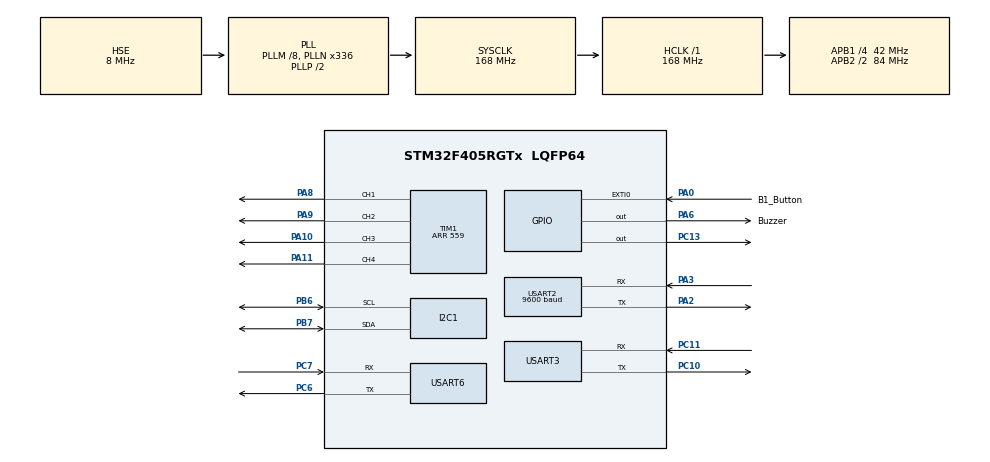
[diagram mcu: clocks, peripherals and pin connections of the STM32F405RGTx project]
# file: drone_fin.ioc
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Dma.Request0=TIM1_CH1
Dma.Request1=TIM1_CH2
Dma.Request2=TIM1_CH3
Dma.Request3=TIM1_CH4/TRIG/COM
Dma.TIM1_CH1.0.Direction=DMA_MEMORY_TO_PERIPH
Dma.TIM1_CH1.0.FIFOMode=DMA_FIFOMODE_DISABLE
Dma.TIM1_CH1.0.Instance=DMA2_Stream1
Dma.TIM1_CH1.0.MemDataAlignment=DMA_MDATAALIGN_WORD
Dma.TIM1_CH1.0.MemInc=DMA_MINC_ENABLE
Dma.TIM1_CH1.0.Mode=DMA_NORMAL
Dma.TIM1_CH1.0.PeriphDataAlignment=DMA_PDATAALIGN_WORD
Dma.TIM1_CH1.0.PeriphInc=DMA_PINC_DISABLE
Dma.TIM1_CH1.0.Priority=DMA_PRIORITY_LOW
Dma.TIM1_CH2.1.Direction=DMA_MEMORY_TO_PERIPH
Dma.TIM1_CH2.1.FIFOMode=DMA_FIFOMODE_DISABLE
Dma.TIM1_CH2.1.Instance=DMA2_Stream2
Dma.TIM1_CH2.1.MemDataAlignment=DMA_MDATAALIGN_WORD
Dma.TIM1_CH2.1.MemInc=DMA_MINC_ENABLE
Dma.TIM1_CH2.1.Mode=DMA_NORMAL
Dma.TIM1_CH2.1.PeriphDataAlignment=DMA_PDATAALIGN_WORD
Dma.TIM1_CH2.1.PeriphInc=DMA_PINC_DISABLE
Dma.TIM1_CH2.1.Priority=DMA_PRIORITY_LOW
Dma.TIM1_CH3.2.Direction=DMA_MEMORY_TO_PERIPH
Dma.TIM1_CH3.2.FIFOMode=DMA_FIFOMODE_DISABLE
Dma.TIM1_CH3.2.Instance=DMA2_Stream6
Dma.TIM1_CH3.2.MemDataAlignment=DMA_MDATAALIGN_WORD
Dma.TIM1_CH3.2.MemInc=DMA_MINC_ENABLE
Dma.TIM1_CH3.2.Mode=DMA_NORMAL
Dma.TIM1_CH3.2.PeriphDataAlignment=DMA_PDATAALIGN_WORD
Dma.TIM1_CH3.2.PeriphInc=DMA_PINC_DISABLE
Dma.TIM1_CH3.2.Priority=DMA_PRIORITY_LOW
Dma.TIM1_CH4/TRIG/COM.3.Direction=DMA_MEMORY_TO_PERIPH
Dma.TIM1_CH4/TRIG/COM.3.FIFOMode=DMA_FIFOMODE_DISABLE
Dma.TIM1_CH4/TRIG/COM.3.Instance=DMA2_Stream4
Dma.TIM1_CH4/TRIG/COM.3.MemDataAlignment=DMA_MDATAALIGN_WORD
Dma.TIM1_CH4/TRIG/COM.3.MemInc=DMA_MINC_ENABLE
Dma.TIM1_CH4/TRIG/COM.3.Mode=DMA_NORMAL
Dma.TIM1_CH4/TRIG/COM.3.PeriphDataAlignment=DMA_PDATAALIGN_WORD
Dma.TIM1_CH4/TRIG/COM.3.PeriphInc=DMA_PINC_DISABLE
Dma.TIM1_CH4/TRIG/COM.3.Priority=DMA_PRIORITY_LOW
FREERTOS.Tasks01=defaultTask,24,128,StartDefaultTask,Default,NULL,Dynamic,NULL,NULL
FREERTOS.configCHECK_FOR_STACK_OVERFLOW=0
FREERTOS.configTOTAL_HEAP_SIZE=32768
FREERTOS.configUSE_MALLOC_FAILED_HOOK=0
FREERTOS.configUSE_NEWLIB_REENTRANT=0
I2C1.I2C_Mode=I2C_Fast
IWDG.Prescaler=IWDG_PRESCALER_64
IWDG.Reload=2000
Mcu.Family=STM32F4
Mcu.Name=STM32F405RGTx
Mcu.Package=LQFP64
NVIC.DMA2_Stream1_IRQn=true\:5\:0\:false\:false\:true\:true\:false\:true\:true
NVIC.DMA2_Stream2_IRQn=true\:5\:0\:false\:false\:true\:true\:false\:true\:true
NVIC.DMA2_Stream4_IRQn=true\:5\:0\:false\:false\:true\:true\:false\:true\:true
NVIC.DMA2_Stream6_IRQn=true\:5\:0\:false\:false\:true\:true\:false\:true\:true
NVIC.EXTI0_IRQn=true\:5\:0\:false\:false\:true\:true\:true\:true\:true
NVIC.PriorityGroup=NVIC_PRIORITYGROUP_4
NVIC.USART2_IRQn=true\:5\:0\:false\:false\:true\:true\:true\:true\:true
NVIC.USART3_IRQn=true\:5\:0\:false\:false\:true\:true\:true\:true\:true
PA0-WKUP.GPIO_Label=B1_Button
PA0-WKUP.GPIO_ModeDefaultEXTI=GPIO_MODE_IT_FALLING
PA0-WKUP.Signal=GPXTI0
PA10.Signal=S_TIM1_CH3
PA11.Signal=S_TIM1_CH4
PA13.Mode=Serial_Wire
PA13.Signal=SYS_JTMS-SWDIO
PA14.Mode=Serial_Wire
PA14.Signal=SYS_JTCK-SWCLK
PA2.Mode=Asynchronous
PA2.Signal=USART2_TX
PA3.GPIO_PuPd=GPIO_PULLUP
PA3.Mode=Asynchronous
PA3.Signal=USART2_RX
PA6.GPIO_Label=Buzzer
PA6.Signal=GPIO_Output
PA8.Signal=S_TIM1_CH1
PA9.Signal=S_TIM1_CH2
PB6.Mode=I2C
PB6.Signal=I2C1_SCL
PB7.Mode=I2C
PB7.Signal=I2C1_SDA
PC10.Mode=Asynchronous
PC10.Signal=USART3_TX
PC11.GPIO_PuPd=GPIO_PULLUP
PC11.Mode=Asynchronous
PC11.Signal=USART3_RX
PC13-ANTI_TAMP.Signal=GPIO_Output
PC6.Mode=Asynchronous
PC6.Signal=USART6_TX
PC7.Mode=Asynchronous
PC7.Signal=USART6_RX
PH0-OSC_IN.Mode=HSE-External-Oscillator
PH0-OSC_IN.Signal=RCC_OSC_IN
PH1-OSC_OUT.Mode=HSE-External-Oscillator
PH1-OSC_OUT.Signal=RCC_OSC_OUT
ProjectManager.HeapSize=0x200
ProjectManager.StackSize=0x400
ProjectManager.TargetToolchain=STM32CubeIDE
RCC.48MHZClocksFreq_Value=84000000
RCC.AHBFreq_Value=168000000
RCC.APB1CLKDivider=RCC_HCLK_DIV4
RCC.APB1Freq_Value=42000000
RCC.APB1TimFreq_Value=84000000
RCC.APB2CLKDivider=RCC_HCLK_DIV2
RCC.APB2Freq_Value=84000000
RCC.APB2TimFreq_Value=168000000
RCC.CortexFreq_Value=168000000
RCC.HCLKFreq_Value=168000000
RCC.HSE_VALUE=8000000
RCC.HSI_VALUE=16000000
RCC.LSE_VALUE=32768
RCC.PLLM=8
RCC.PLLN=336
RCC.PLLSourceVirtual=RCC_PLLSOURCE_HSE
RCC.SYSCLKFreq_VALUE=168000000
RCC.SYSCLKSource=RCC_SYSCLKSOURCE_PLLCLK
RCC.VCOOutputFreq_Value=336000000
SH.S_TIM1_CH1.0=TIM1_CH1,PWM Generation1 CH1
SH.S_TIM1_CH2.0=TIM1_CH2,PWM Generation2 CH2
SH.S_TIM1_CH3.0=TIM1_CH3,PWM Generation3 CH3
SH.S_TIM1_CH4.0=TIM1_CH4,PWM Generation4 CH4
TIM1.Channel-PWM\ Generation1\ CH1=TIM_CHANNEL_1
TIM1.Channel-PWM\ Generation2\ CH2=TIM_CHANNEL_2
TIM1.Channel-PWM\ Generation3\ CH3=TIM_CHANNEL_3
TIM1.Channel-PWM\ Generation4\ CH4=TIM_CHANNEL_4
TIM1.Period=559
USART2.BaudRate=9600
USART2.VirtualMode=VM_ASYNC
USART3.VirtualMode=VM_ASYNC
USART6.VirtualMode=VM_ASYNC
VP_FREERTOS_VS_CMSIS_V2.Mode=CMSIS_V2
VP_IWDG_VS_IWDG.Mode=IWDG_Activate
board=custom

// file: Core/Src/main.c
/* USER CODE BEGIN Header */
/**
  ******************************************************************************
  * @file           : main.c
  * @brief          : Main program body
  ******************************************************************************
  * @attention
  *
  * Copyright (c) 2026 STMicroelectronics.
  * All rights reserved.
  *
  * This software is licensed under terms that can be found in the LICENSE file
  * in the root directory of this software component.
  * If no LICENSE file comes with this software, it is provided AS-IS.
  *
  ******************************************************************************
  */
/* USER CODE END Header */
#include "main.h"
#include "cmsis_os.h"
#include "dma.h"
#include "i2c.h"
#include "iwdg.h"
#include "tim.h"
#include "usart.h"
#include "gpio.h"

/* USER CODE BEGIN Includes */
#include <stdio.h>
#include "i2c.h"
#include "ssd1306.h"
#include "ssd1306_fonts.h"
#include "iwdg.h"
#include <stdio.h>
#include <math.h>
#include "app_types.h"
#include "app_globals.h"
#include "task_sensor.h"
#include "task_filter.h"
#include "task_display.h"
#include "task_log.h"
#include "task_watchdog.h"
#include "task_control.h"
#include "task_gps.h"
#include "task_baro.h"
#include "task_rc.h"
#include "task_telemetry.h"
/* USER CODE END Includes */

void SystemClock_Config(void);
void MX_FREERTOS_Init(void);
/* USER CODE BEGIN PFP */
void  task_sensor(void *argument);
//void task_print(void *argument);
void task_display(void *argument);
void task_log(void *argument);
void task_watchdog(void *argument);
void task_filter(void *argument);
void task_baro(void *argument);
void task_gps(void *argument);
void task_control(void *argument);
void task_rc(void *argument);
void task_telemetry(void *argument);
//void task_blink_fast(void *argument);
//void task_blink_slow(void *argument);
/* USER CODE END PFP */

/* USER CODE BEGIN 0 */
volatile uint32_t putchar_calls = 0;       // how many chars printf tried to send
volatile uint32_t putchar_fail  = 0;       // how many HAL_UART_Transmit rejected
volatile uint32_t putchar_last  = 0;       // last failing status: 1=ERROR 2=BUSY 3=TIMEOUT

int __io_putchar(int ch)
{
    putchar_calls++;
    HAL_StatusTypeDef st = HAL_UART_Transmit(&huart3, (uint8_t *)&ch, 1, 10);
    if (st != HAL_OK)
    {
        putchar_fail++;
        putchar_last = st;
    }
    return ch;
}
/* USER CODE END 0 */

int main(void)
{

  /* USER CODE BEGIN 1 */
	uint32_t reset_csr = RCC->CSR;     // why did we reset last time?
	__HAL_RCC_CLEAR_RESET_FLAGS();     // clear so next boot reports fresh
  /* USER CODE END 1 */

  /* MCU Configuration--------------------------------------------------------*/

  /* Reset of all peripherals, Initializes the Flash interface and the Systick. */
  HAL_Init();

  /* Configure the system clock */
  SystemClock_Config();

  /* Initialize all configured peripherals */
  MX_GPIO_Init();
  MX_DMA_Init();
  MX_I2C1_Init();
  MX_TIM1_Init();
  MX_USART6_UART_Init();
  MX_IWDG_Init();
  MX_USART2_UART_Init();
  MX_USART3_UART_Init();
  /* USER CODE BEGIN 2 */
  __HAL_DBGMCU_FREEZE_IWDG();
  CoreDebug->DEMCR |= CoreDebug_DEMCR_TRCENA_Msk;   // enable the trace/debug block
  DWT->CYCCNT = 0;
  DWT->CTRL  |= DWT_CTRL_CYCCNTENA_Msk;              // start counting CPU cycles
  printf("Booting...\r\n");
  printf("[BOOT] cause:%s%s%s%s%s%s\r\n",
         (reset_csr & RCC_CSR_IWDGRSTF) ? " IWDG" : "",
         (reset_csr & RCC_CSR_WWDGRSTF) ? " WWDG" : "",
         (reset_csr & RCC_CSR_BORRSTF)  ? " BROWNOUT" : "",
         (reset_csr & RCC_CSR_PORRSTF)  ? " POWER-ON" : "",
         (reset_csr & RCC_CSR_SFTRSTF)  ? " SOFTWARE" : "",
         (reset_csr & RCC_CSR_PINRSTF)  ? " PIN" : "");
  HAL_TIM_PWM_Start(&htim1, TIM_CHANNEL_1);
  HAL_TIM_PWM_Start(&htim1, TIM_CHANNEL_2);
  HAL_TIM_PWM_Start(&htim1, TIM_CHANNEL_3);
  HAL_TIM_PWM_Start(&htim1, TIM_CHANNEL_4);
  /* USER CODE END 2 */

  /* Init scheduler */
  osKernelInitialize();  /* Call init function for freertos objects (in cmsis_os2.c) */
  MX_FREERTOS_Init();

  /* Start scheduler */
  osKernelStart();

  /* We should never get here as control is now taken by the scheduler */

  /* Infinite loop */
  while (1)
  {

  }
}

void SystemClock_Config(void)
{
  RCC_OscInitTypeDef RCC_OscInitStruct = {0};
  RCC_ClkInitTypeDef RCC_ClkInitStruct = {0};

  /** Configure the main internal regulator output voltage
  */
  __HAL_RCC_PWR_CLK_ENABLE();
  __HAL_PWR_VOLTAGESCALING_CONFIG(PWR_REGULATOR_VOLTAGE_SCALE1);

  /** Initializes the RCC Oscillators according to the specified parameters
  * in the RCC_OscInitTypeDef structure.
  */
  RCC_OscInitStruct.OscillatorType = RCC_OSCILLATORTYPE_LSI|RCC_OSCILLATORTYPE_HSE;
  RCC_OscInitStruct.HSEState = RCC_HSE_ON;
  RCC_OscInitStruct.LSIState = RCC_LSI_ON;
  RCC_OscInitStruct.PLL.PLLState = RCC_PLL_ON;
  RCC_OscInitStruct.PLL.PLLSource = RCC_PLLSOURCE_HSE;
  RCC_OscInitStruct.PLL.PLLM = 8;
  RCC_OscInitStruct.PLL.PLLN = 336;
  RCC_OscInitStruct.PLL.PLLP = RCC_PLLP_DIV2;
  RCC_OscInitStruct.PLL.PLLQ = 4;
  if (HAL_RCC_OscConfig(&RCC_OscInitStruct) != HAL_OK)
  {
    Error_Handler();
  }

  /** Initializes the CPU, AHB and APB buses clocks
  */
  RCC_ClkInitStruct.ClockType = RCC_CLOCKTYPE_HCLK|RCC_CLOCKTYPE_SYSCLK
                              |RCC_CLOCKTYPE_PCLK1|RCC_CLOCKTYPE_PCLK2;
  RCC_ClkInitStruct.SYSCLKSource = RCC_SYSCLKSOURCE_PLLCLK;
  RCC_ClkInitStruct.AHBCLKDivider = RCC_SYSCLK_DIV1;
  RCC_ClkInitStruct.APB1CLKDivider = RCC_HCLK_DIV4;
  RCC_ClkInitStruct.APB2CLKDivider = RCC_HCLK_DIV2;

  if (HAL_RCC_ClockConfig(&RCC_ClkInitStruct, FLASH_LATENCY_5) != HAL_OK)
  {
    Error_Handler();
  }
}

void Error_Handler(void)
{
  __disable_irq();
  while (1)
  {
  }
}

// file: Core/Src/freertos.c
/* USER CODE BEGIN Header */
/**
  ******************************************************************************
  * File Name          : freertos.c
  * Description        : Code for freertos applications
  ******************************************************************************
  * @attention
  *
  * Copyright (c) 2026 STMicroelectronics.
  * All rights reserved.
  *
  * This software is licensed under terms that can be found in the LICENSE file
  * in the root directory of this software component.
  * If no LICENSE file comes with this software, it is provided AS-IS.
  *
  ******************************************************************************
  */
/* USER CODE END Header */

#include "FreeRTOS.h"
#include "task.h"
#include "main.h"
#include "cmsis_os.h"

/* USER CODE BEGIN Includes */
#include "i2c.h"
#include <stdio.h>
#include "app_types.h"
#include "usart.h"
#include <string.h>
#include "app_globals.h"
#include "task_sensor.h"
#include "task_filter.h"
#include "task_display.h"
#include "task_log.h"
#include "task_watchdog.h"
#include "task_baro.h"
#include "task_control.h"
#include "task_gps.h"
#include "task_rc.h"
#include "task_telemetry.h"

void task_sensor(void *argument);
//void task_print(void *argument);
void task_display(void *argument);
void task_log(void *argument);
void task_watchdog(void *argument);
void task_filter(void *argument);
void task_gps(void *argument);
void task_control(void *argument);
void task_baro(void *argument);
void task_rc(void *argument);
void task_telemetry(void* argument);
void task_loggr(void *argument);
void task_dshot(void *argument);
/* USER CODE END Includes */

/* USER CODE BEGIN Variables */
osMutexId_t uart_mutex;
osMutexId_t i2c_mutex;
osMessageQueueId_t imu_queue;
osMessageQueueId_t state_queue;
osMessageQueueId_t control_state_queue;
osSemaphoreId_t button_sem;
volatile uint8_t logging_enabled = 1;
osMessageQueueId_t baro_queue;
osMessageQueueId_t gps_queue;
volatile uint8_t armed = 0;
volatile float throttle = 0.0f;
osMessageQueueId_t rc_queue;
volatile uint32_t rc_last_packet_ms = 0;
osMessageQueueId_t telemetry_queue;
osMessageQueueId_t log_queue;

/* ---- Stack monitor ------------------------------------------------------
 * Records every task handle so task_stackmon can print each task's
 * worst-case free stack. A task that never drops below ~200 bytes free
 * is safe; one that approaches 0 is about to corrupt its neighbour. */
typedef struct { const char *name; osThreadId_t h; } TaskMon_t;
static TaskMon_t mon[16];
static int mon_count = 0;

static void mon_add(const char *name, osThreadId_t h)
{
    if (h == NULL) { printf("[RTOS] FAILED to create task %s (heap?)\r\n", name); return; }
    if (mon_count < 16) { mon[mon_count].name = name; mon[mon_count].h = h; mon_count++; }
}

void task_stackmon(void *argument);
const osThreadAttr_t stackmon_task_attributes = {
    .name = "stackmon",
    .stack_size = 256 * 4,
    .priority = (osPriority_t) osPriorityLow,
};

volatile char overflow_task[16];   /* survives in Live Expressions if the print fails */

/* USER CODE END Variables */
/* Definitions for defaultTask */
osThreadId_t defaultTaskHandle;
const osThreadAttr_t defaultTask_attributes = {
  .name = "defaultTask",
  .stack_size = 128 * 4,
  .priority = (osPriority_t) osPriorityNormal,
};

/* USER CODE BEGIN FunctionPrototypes */
const osThreadAttr_t sensor_task_attributes = {
    .name = "sensor",
    .stack_size = 256 * 4,
    .priority = (osPriority_t) osPriorityAboveNormal,
};

const osThreadAttr_t display_task_attributes = {
    .name = "display",
    .stack_size = 512 * 4,   /* was 256*4: snprintf("%f") + interrupt frame overflowed it */
    .priority = (osPriority_t) osPriorityNormal,
};

const osThreadAttr_t print_task_attributes = {
    .name = "print",
    .stack_size = 256 * 4,
    .priority = (osPriority_t) osPriorityNormal,
};

const osThreadAttr_t log_task_attributes = {
    .name = "log",
    .stack_size = 256 * 4,
    .priority = (osPriority_t) osPriorityNormal,
};

const osThreadAttr_t watchdog_task_attributes = {
    .name = "watchdog",
    .stack_size = 128 * 4,
    .priority = (osPriority_t) osPriorityHigh,
};

const osThreadAttr_t filter_task_attributes = {
    .name = "filter",
    .stack_size = 512 * 4,
    .priority = (osPriority_t) osPriorityAboveNormal,
};

const osThreadAttr_t baro_task_attributes = {
    .name = "baro",
    .stack_size = 384 * 4,
    .priority = (osPriority_t) osPriorityNormal,
};

const osThreadAttr_t control_task_attributes = {
    .name = "control",
    .stack_size = 512 * 4,   /* was 256*4: printf with 8 floats + interrupt frame overflowed it */
    .priority = (osPriority_t) osPriorityAboveNormal,
};

const osThreadAttr_t gps_task_attributes = {
    .name = "gps",
    .stack_size = 512 * 4,
    .priority = (osPriority_t) osPriorityNormal,
};

const osThreadAttr_t rc_task_attributes = {
    .name = "rc",
    .stack_size = 512 * 4,
    .priority = (osPriority_t) osPriorityAboveNormal,
};

const osThreadAttr_t telemetry_task_attributes = {
    .name = "telemetry",
    .stack_size = 256 * 4,
    .priority = (osPriority_t) osPriorityBelowNormal,
};

const osThreadAttr_t logger_task_attributes = {
    .name = "loggr",
    .stack_size = 512 * 4,               /* float printf needs room */
    .priority = (osPriority_t) osPriorityLow,
};

const osThreadAttr_t dshot_task_attributes = {
    .name = "dshot",
    .stack_size = 256 * 4,
    .priority = (osPriority_t) osPriorityRealtime,
};
/* USER CODE END FunctionPrototypes */

void StartDefaultTask(void *argument);

void MX_FREERTOS_Init(void); /* (MISRA C 2004 rule 8.1) */

void MX_FREERTOS_Init(void) {

  /* USER CODE BEGIN RTOS_MUTEX */
  /* add mutexes, ... */
	uart_mutex = osMutexNew(NULL);
	i2c_mutex = osMutexNew(NULL);
	button_sem = osSemaphoreNew(1, 0, NULL);
  /* USER CODE END RTOS_MUTEX */

  /* USER CODE BEGIN RTOS_QUEUES */
  /* add queues, ... */
	imu_queue = osMessageQueueNew(10, sizeof(IMUData_t), NULL);
	state_queue = osMessageQueueNew(1, sizeof(FlightState_t), NULL);
	control_state_queue = osMessageQueueNew(10, sizeof(FlightState_t), NULL);
	baro_queue = osMessageQueueNew(1, sizeof(BarData_t), NULL);
	gps_queue = osMessageQueueNew(1, sizeof(GPSData_t), NULL);
	rc_queue = osMessageQueueNew(5, sizeof(RCInput_t), NULL);
	telemetry_queue = osMessageQueueNew(1, sizeof(TelemetryPckt_t), NULL);
	log_queue = osMessageQueueNew(1, sizeof(CtrlLog_t), NULL);
  /* USER CODE END RTOS_QUEUES */

  /* Create the thread(s) */
  /* creation of defaultTask */
  defaultTaskHandle = osThreadNew(StartDefaultTask, NULL, &defaultTask_attributes);

  /* USER CODE BEGIN RTOS_THREADS */
  /* add threads, ... */
  mon_add("sensor",  osThreadNew(task_sensor,   NULL, &sensor_task_attributes));
  mon_add("display", osThreadNew(task_display,  NULL, &display_task_attributes));
//  osThreadNew(task_log, NULL, &log_task_attributes);
  mon_add("wdog",    osThreadNew(task_watchdog, NULL, &watchdog_task_attributes));
  mon_add("filter",  osThreadNew(task_filter,   NULL, &filter_task_attributes));
  mon_add("baro",    osThreadNew(task_baro,     NULL, &baro_task_attributes));
  mon_add("control", osThreadNew(task_control,  NULL, &control_task_attributes));
  mon_add("gps",     osThreadNew(task_gps,      NULL, &gps_task_attributes));
  mon_add("rc",      osThreadNew(task_rc,       NULL, &rc_task_attributes));
  mon_add("default", defaultTaskHandle);
  mon_add("stackmon",osThreadNew(task_stackmon, NULL, &stackmon_task_attributes));
  mon_add("loggr", osThreadNew(task_loggr, NULL, &logger_task_attributes));
  mon_add("telem", osThreadNew(task_telemetry, NULL, &telemetry_task_attributes));
  mon_add("dshot", osThreadNew(task_dshot, NULL, &dshot_task_attributes));
  printf("[RTOS] heap free after init: %u bytes\r\n", (unsigned)xPortGetFreeHeapSize());
  /* USER CODE END RTOS_THREADS */

}

void StartDefaultTask(void *argument)
{
  /* USER CODE BEGIN StartDefaultTask */
  /* Infinite loop */
  for(;;)
  {
    osDelay(1000);   /* was osDelay(1): woke 1000x/s for nothing */
  }
  /* USER CODE END StartDefaultTask */
}

/* USER CODE BEGIN Application */
/* Every fatal path: motors off FIRST, then take the UART back (a task may have
 * been mid-print, leaving huart3 locked), then report, then let the IWDG reset us. */
static void fatal_prepare(void)
{
    taskDISABLE_INTERRUPTS();
    TIM1->BDTR &= ~TIM_BDTR_MOE;          /* cut all four motor outputs */
    huart3.Lock   = HAL_UNLOCKED;
    huart3.gState = HAL_UART_STATE_READY;
}

void vApplicationStackOverflowHook(TaskHandle_t xTask, char *pcTaskName)
{
    fatal_prepare();
    strncpy((char *)overflow_task, pcTaskName, sizeof(overflow_task) - 1);
    printf("[FATAL] Stack overflow in task: %s\r\n", pcTaskName);
    for (;;);                              /* IWDG resets; message repeats each time */
}

void vApplicationMallocFailedHook(void)
{
    fatal_prepare();
    printf("[FATAL] FreeRTOS heap exhausted\r\n");
    for (;;);
}

/* Prints each task's worst-case free stack every 5 s (integers only: small stack use). */
void task_stackmon(void *argument)
{
    for (;;)
    {
        osDelay(5000);
        osMutexAcquire(uart_mutex, osWaitForever);
        printf("[STACK] min free bytes:");
        for (int i = 0; i < mon_count; i++)
            printf(" %s:%lu", mon[i].name,
                   (unsigned long)uxTaskGetStackHighWaterMark((TaskHandle_t)mon[i].h) * 4UL);
        printf(" | heap min:%u\r\n", (unsigned)xPortGetMinimumEverFreeHeapSize());
        osMutexRelease(uart_mutex);
    }
}
volatile const char *assert_file = 0;
volatile int assert_line = 0;

void vAssertCalled(const char *file, int line)
{
    taskDISABLE_INTERRUPTS();
    assert_file = file;          // visible in Live Expressions even if the print fails
    assert_line = line;
    printf("[ASSERT] %s:%d\r\n", file, line);
    for (;;);                    // IWDG resets us — message repeats every boot
}
/* USER CODE END Application */
